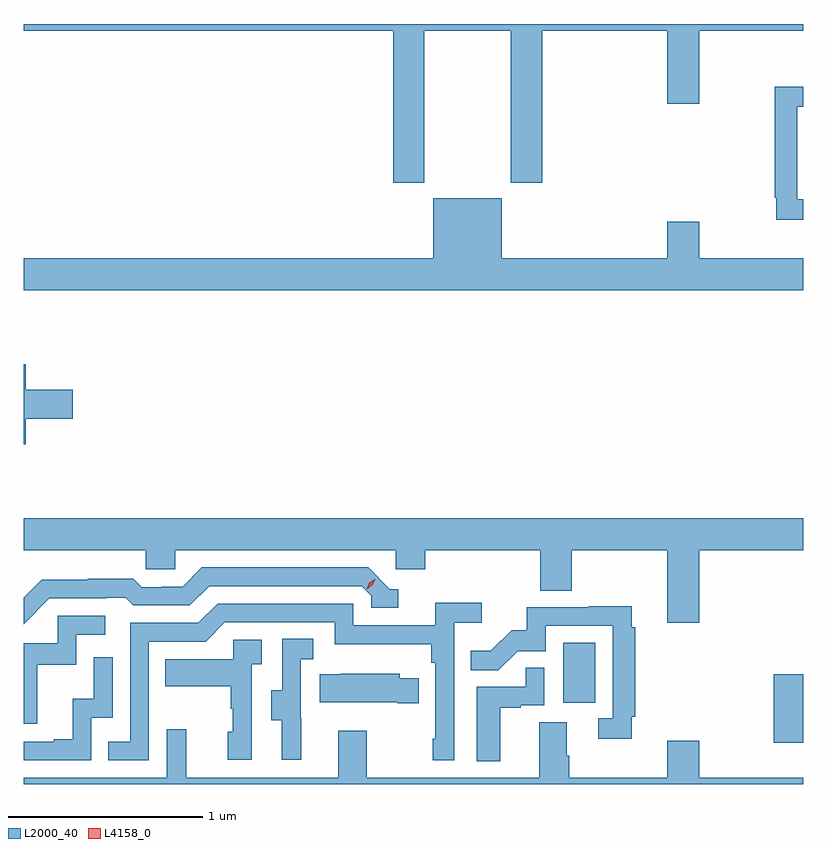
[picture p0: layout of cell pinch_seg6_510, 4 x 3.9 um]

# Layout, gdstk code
import gdstk
lib = gdstk.Library(unit=1e-6, precision=1e-09)
def R(c, l, rs):  # rectangles x0, y0, x1, y1
    for r in rs: c.add(gdstk.rectangle(r[:2], r[2:], *l))
def P(c, l, *ps):  # polygons
    for p in ps: c.add(gdstk.Polygon(p, *l))
L2000_40 = (2000, 40)
L4158_0 = (4158, 0)

pinch_seg6_510 = lib.new_cell('pinch_seg6_510')
R(pinch_seg6_510, L2000_40, [(848.87,915.711,849.022,916.063), (847.79,915.918,847.954,916.225)])
P(pinch_seg6_510, L2000_40, [(847.077,919.364),(847.522,919.364),(847.522,918.585),(847.682,918.585),(847.682,919.364),(848.324,919.364),(848.324,918.99),(848.488,918.99),(848.488,919.364),(849.022,919.364),(849.022,919.399),(845.022,919.399),(845.022,919.364),(846.917,919.364),(846.917,918.585),(847.077,918.585)],
  [(849.022,918.501),(848.991,918.501),(848.991,918.975),(849.022,918.975),(849.022,919.076),(848.875,919.076),(848.875,918.508),(848.883,918.508),(848.883,918.396),(849.022,918.396)],
  [(849.022,918.196),(848.488,918.196),(848.488,918.385),(848.324,918.385),(848.324,918.196),(847.474,918.196),(847.474,918.505),(847.124,918.505),(847.124,918.196),(845.022,918.196),(845.022,918.032),(849.022,918.032)],
  [(845.032,917.375),(845.275,917.375),(845.275,917.522),(845.032,917.522),(845.032,917.653),(845.022,917.653),(845.022,917.243),(845.032,917.243)],
  [(848.488,916.7),(849.022,916.7),(849.022,916.864),(845.022,916.864),(845.022,916.7),(845.649,916.7),(845.649,916.602),(845.799,916.602),(845.799,916.7),(846.93,916.7),(846.93,916.602),(847.082,916.602),(847.082,916.7),(847.673,916.7),(847.673,916.492),(847.833,916.492),(847.833,916.7),(848.324,916.7),(848.324,916.326),(848.488,916.326)],
  [(845.154,916.452),(845.447,916.452),(845.447,916.455),(845.546,916.455),(845.585,916.416),(845.874,916.416),(845.973,916.515),(846.756,916.515),(846.804,916.467),(846.804,916.404),(846.943,916.404),(846.943,916.5),(846.9,916.5),(846.789,916.611),(845.936,916.611),(845.837,916.512),(845.73,916.512),(845.73,916.509),(845.627,916.509),(845.585,916.552),(845.352,916.552),(845.352,916.549),(845.116,916.549),(845.022,916.455),(845.022,916.32)],
  [(845.664,916.23),(845.955,916.23),(846.054,916.329),(846.618,916.329),(846.618,916.217),(847.114,916.217),(847.114,916.121),(847.134,916.121),(847.134,915.733),(847.122,915.733),(847.122,915.621),(847.23,915.621),(847.23,916.328),(847.372,916.328),(847.372,916.43),(847.133,916.43),(847.133,916.314),(846.714,916.314),(846.714,916.425),(846.017,916.425),(845.918,916.326),(845.568,916.326),(845.568,915.717),(845.455,915.717),(845.455,915.621),(845.664,915.621)],
  [(848.141,915.844),(848.159,915.844),(848.159,916.304),(848.141,916.304),(848.141,916.412),(847.921,916.412),(847.921,916.407),(847.603,916.407),(847.603,916.29),(847.526,916.29),(847.419,916.183),(847.315,916.183),(847.315,916.084),(847.458,916.084),(847.556,916.182),(847.701,916.182),(847.701,916.311),(848.043,916.311),(848.043,915.837),(847.971,915.837),(847.971,915.732),(848.141,915.732)],
  [(845.093,916.113),(845.292,916.113),(845.292,916.266),(845.44,916.266),(845.44,916.362),(845.196,916.362),(845.196,916.221),(845.022,916.221),(845.022,915.81),(845.093,915.81)],
  [(846.446,915.837),(846.444,915.837),(846.444,916.141),(846.508,916.141),(846.508,916.244),(846.348,916.244),(846.348,915.981),(846.293,915.981),(846.293,915.826),(846.347,915.826),(846.347,915.624),(846.446,915.624)],
  [(846.192,916.115),(846.244,916.115),(846.244,916.239),(846.096,916.239),(846.096,916.141),(845.749,916.141),(845.749,916.001),(846.084,916.001),(846.084,915.887),(846.094,915.887),(846.094,915.768),(846.068,915.768),(846.068,915.624),(846.192,915.624)],
  [(845.37,915.84),(845.478,915.84),(845.478,916.15),(845.382,916.15),(845.382,915.938),(845.273,915.938),(845.273,915.73),(845.177,915.73),(845.177,915.717),(845.022,915.717),(845.022,915.621),(845.37,915.621)],
  [(847.468,915.891),(847.571,915.891),(847.571,915.903),(847.692,915.903),(847.692,916.097),(847.597,916.097),(847.597,915.999),(847.346,915.999),(847.346,915.617),(847.468,915.617)],
  [(847.049,916.042),(846.951,916.042),(846.951,916.066),(846.649,916.066),(846.649,916.063),(846.541,916.063),(846.541,915.92),(846.938,915.92),(846.938,915.913),(847.049,915.913)],
  [(848.324,915.721),(848.324,915.532),(847.82,915.532),(847.82,915.644),(847.807,915.644),(847.807,915.818),(847.667,915.818),(847.667,915.532),(846.783,915.532),(846.783,915.772),(846.635,915.772),(846.635,915.532),(845.855,915.532),(845.855,915.781),(845.757,915.781),(845.757,915.532),(845.022,915.532),(845.022,915.5),(849.022,915.5),(849.022,915.532),(848.488,915.532),(848.488,915.721)])
P(pinch_seg6_510, L4158_0, [(846.781,916.5),(846.781,916.5),(846.796,916.533),(846.827,916.553),(846.827,916.553),(846.827,916.553),(846.811,916.52),(846.781,916.5)])

lib.write_gds('pinch_seg6_510.gds')
